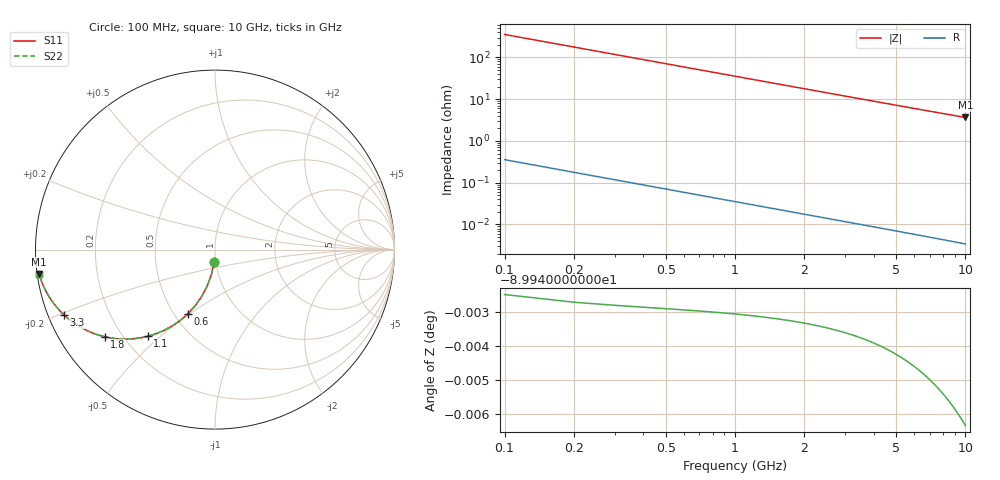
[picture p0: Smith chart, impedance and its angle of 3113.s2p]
# Hz S RI R 50.00
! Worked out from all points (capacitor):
!   100 points, 100 MHz to 10 GHz, reference 50 ohm
!   read as one part in shunt: C = 4.48 pF near 100 MHz
!   lowest |Z| = 3.65 ohm at 10 GHz (marker M1)
!   S11 on the Smith chart (normalised r, x): 100 MHz: 0.98, -0.14; 600 MHz: 0.58, -0.49; 1.1 GHz: 0.29, -0.46; 1.8 GHz: 0.14, -0.34; 3.3 GHz: 0.05, -0.21; 10 GHz: 0.01, -0.07
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1e8  -0.005 -0.07  0.995 -0.0701  0.995 -0.0701  -0.005 -0.07
2e8  -0.0196 -0.138  0.9804 -0.1381  0.9804 -0.1381  -0.0196 -0.138
3e8  -0.0429 -0.202  0.9571 -0.2022  0.9571 -0.2022  -0.0429 -0.202
4e8  -0.0737 -0.2607  0.9263 -0.2609  0.9263 -0.2609  -0.0737 -0.2607
5e8  -0.1105 -0.3128  0.8895 -0.3132  0.8895 -0.3132  -0.1105 -0.3128
6e8  -0.1516 -0.358  0.8484 -0.3584  0.8484 -0.3584  -0.1516 -0.358
7e8  -0.1955 -0.3959  0.8044 -0.3964  0.8044 -0.3964  -0.1955 -0.3959
8e8  -0.2409 -0.4269  0.7591 -0.4274  0.7591 -0.4274  -0.2409 -0.4269
9e8  -0.2864 -0.4513  0.7136 -0.4519  0.7136 -0.4519  -0.2864 -0.4513
1.1e9  -0.3746 -0.4832  0.6254 -0.4839  0.6254 -0.4839  -0.3746 -0.4832
1.4e9  -0.4921 -0.499  0.5079 -0.4999  0.5079 -0.4999  -0.4921 -0.499
1.8e9  -0.6152 -0.4855  0.3848 -0.4866  0.3848 -0.4866  -0.6152 -0.4855
2.1e9  -0.6849 -0.4634  0.3151 -0.4648  0.3151 -0.4648  -0.6849 -0.4634
2.5e9  -0.7546 -0.429  0.2454 -0.4307  0.2454 -0.4307  -0.7546 -0.429
2.9e9  -0.8051 -0.3946  0.1949 -0.3966  0.1949 -0.3966  -0.8051 -0.3946
3.3e9  -0.8423 -0.3628  0.1577 -0.365  0.1577 -0.365  -0.8423 -0.3628
3.4e9  -0.85 -0.3554  0.1499 -0.3577  0.1499 -0.3577  -0.85 -0.3554
4.2e9  -0.8961 -0.3032  0.1038 -0.306  0.1038 -0.306  -0.8961 -0.3032
5.1e9  -0.927 -0.2579  0.073 -0.2614  0.073 -0.2614  -0.927 -0.2579
6.7e9  -0.9562 -0.2017  0.0437 -0.2063  0.0437 -0.2063  -0.9562 -0.2017
8.4e9  -0.9717 -0.1624  0.0283 -0.1681  0.0283 -0.1681  -0.9717 -0.1624
1e10  -0.9799 -0.1364  0.0201 -0.1433  0.0201 -0.1433  -0.9799 -0.1364
